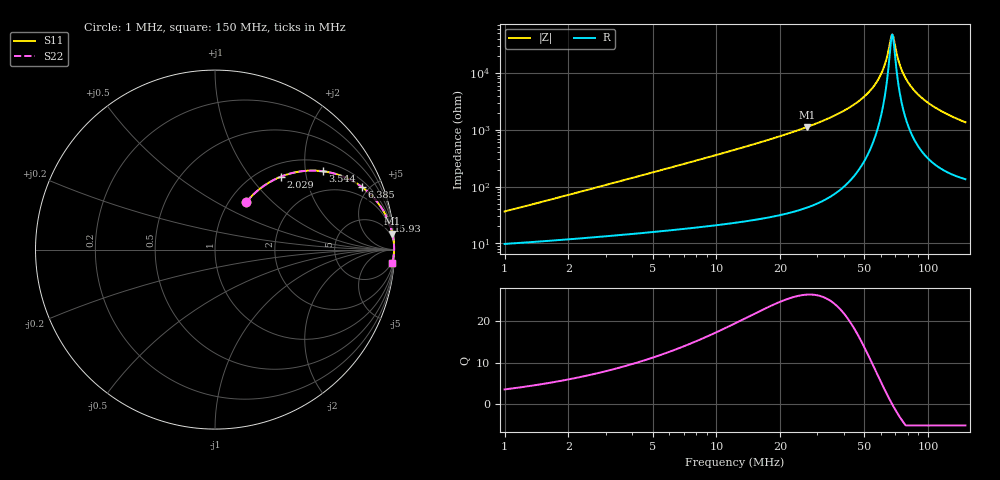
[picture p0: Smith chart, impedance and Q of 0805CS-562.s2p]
# MHz S MA R 50
!Freq  MagS11  AngS11  MagS21  AngS21  MagS12  AngS12  MagS22  AngS22
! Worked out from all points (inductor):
!   801 points, 1 MHz to 150 MHz, reference 50 ohm
!   read as one part in series: L = 5.6 uH near 1.025 MHz
!   highest Q = 26.2 at 26.8 MHz (marker M1), where L = 6.64 uH
!   self-resonance near 67.71 MHz
!   S11 on the Smith chart (normalised r, x): 1 MHz: 1.20, +0.70; 2.029 MHz: 1.24, +1.43; 3.544 MHz: 1.28, +2.50; 6.385 MHz: 1.35, +4.53; 15.93 MHz: 2, +12; 150 MHz: 4, -27
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1  0.3168 56.7  0.8673 -17.8  0.8673 -17.8  0.3168 56.7
2.029424  0.5458 48.0  0.7534 -32.6  0.7534 -32.6  0.5458 48.0
3.54375  0.7434 36.0  0.5908 -47.6  0.5908 -47.6  0.7434 36.0
6.384895  0.8906 23.0  0.3918 -62.6  0.3918 -62.6  0.8906 23.0
10.0231  0.9497 15.2  0.263 -71.5  0.263 -71.5  0.9497 15.2
15.93274  0.9789 9.5  0.1648 -77.9  0.1648 -77.9  0.9789 9.5
25.96924  0.9922 5.3  0.09258 -82.5  0.09258 -82.5  0.9922 5.3
26.79538  0.9927 5.1  0.08877 -82.7  0.08877 -82.7  0.9927 5.1
50.75882  0.9978 1.4  0.02456 -84.2  0.02456 -84.2  0.9978 1.4
56.10911  0.998 0.9  0.01598 -82.3  0.01598 -82.3  0.998 0.9
60.11109  0.998 0.6  0.01022 -78.5  0.01022 -78.5  0.998 0.6
62.80517  0.998 0.4  0.006656 -72.3  0.006656 -72.3  0.998 0.4
66.03228  0.9979 0.1  0.002981 -46.3  0.002981 -46.3  0.9979 0.1
67.28475  0.9979 0.0  0.002168 -15.7  0.002168 -15.7  0.9979 0.0
68.99174  0.9979 -0.1  0.00261 35.1  0.00261 35.1  0.9979 -0.1
72.53674  0.9977 -0.3  0.006119 68.2  0.006119 68.2  0.9977 -0.3
75.78772  0.9976 -0.5  0.00966 75.4  0.00966 75.4  0.9976 -0.5
80.18255  0.9974 -0.8  0.01434 79.1  0.01434 79.1  0.9974 -0.8
85.36523  0.9971 -1.1  0.01963 80.9  0.01963 80.9  0.9971 -1.1
100.4625  0.9959 -1.9  0.03383 82.1  0.03383 82.1  0.9959 -1.9
125.8717  0.9933 -3.1  0.05495 81.4  0.05495 81.4  0.9933 -3.1
150  0.9901 -4.2  0.07305 80.1  0.07305 80.1  0.9901 -4.2
